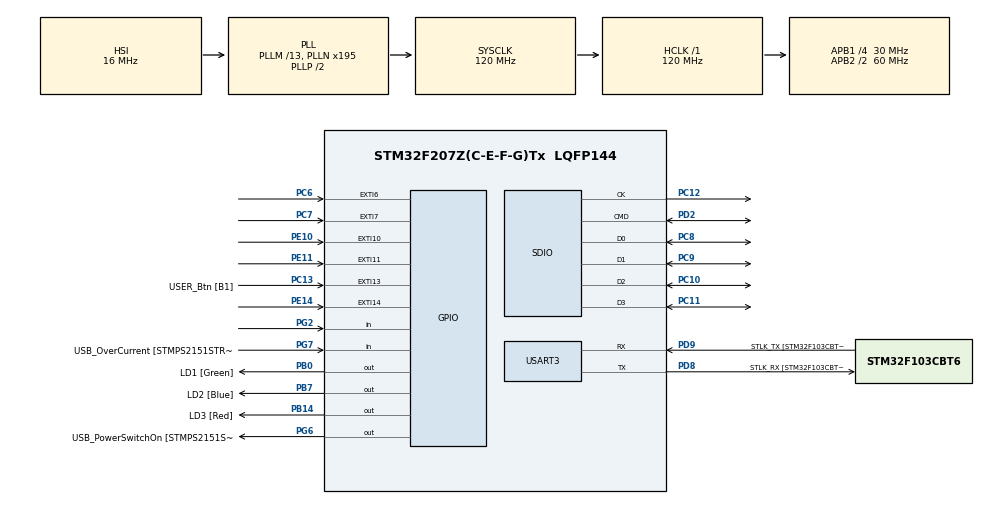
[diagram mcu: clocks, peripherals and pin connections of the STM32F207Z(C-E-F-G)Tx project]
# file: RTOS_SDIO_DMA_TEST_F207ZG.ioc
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Dma.Request0=SDIO_TX
Dma.Request1=SDIO_RX
Dma.SDIO_RX.1.Direction=DMA_PERIPH_TO_MEMORY
Dma.SDIO_RX.1.FIFOMode=DMA_FIFOMODE_ENABLE
Dma.SDIO_RX.1.FIFOThreshold=DMA_FIFO_THRESHOLD_FULL
Dma.SDIO_RX.1.Instance=DMA2_Stream3
Dma.SDIO_RX.1.MemBurst=DMA_MBURST_INC4
Dma.SDIO_RX.1.MemDataAlignment=DMA_MDATAALIGN_WORD
Dma.SDIO_RX.1.MemInc=DMA_MINC_ENABLE
Dma.SDIO_RX.1.Mode=DMA_PFCTRL
Dma.SDIO_RX.1.PeriphBurst=DMA_PBURST_INC4
Dma.SDIO_RX.1.PeriphDataAlignment=DMA_PDATAALIGN_WORD
Dma.SDIO_RX.1.PeriphInc=DMA_PINC_DISABLE
Dma.SDIO_RX.1.Priority=DMA_PRIORITY_LOW
Dma.SDIO_TX.0.Direction=DMA_MEMORY_TO_PERIPH
Dma.SDIO_TX.0.FIFOMode=DMA_FIFOMODE_ENABLE
Dma.SDIO_TX.0.FIFOThreshold=DMA_FIFO_THRESHOLD_FULL
Dma.SDIO_TX.0.Instance=DMA2_Stream6
Dma.SDIO_TX.0.MemBurst=DMA_MBURST_INC4
Dma.SDIO_TX.0.MemDataAlignment=DMA_MDATAALIGN_WORD
Dma.SDIO_TX.0.MemInc=DMA_MINC_ENABLE
Dma.SDIO_TX.0.Mode=DMA_PFCTRL
Dma.SDIO_TX.0.PeriphBurst=DMA_PBURST_INC4
Dma.SDIO_TX.0.PeriphDataAlignment=DMA_PDATAALIGN_WORD
Dma.SDIO_TX.0.PeriphInc=DMA_PINC_DISABLE
Dma.SDIO_TX.0.Priority=DMA_PRIORITY_LOW
FATFS.BSP.number=1
FATFS._CODE_PAGE=949
FATFS._USE_LFN=3
FATFS._WORD_ACCESS=1
FATFS0.BSP.STBoard=false
FATFS0.BSP.api=Unknown
FATFS0.BSP.i2caddr=0
FATFS0.BSP.instance=PG2
FATFS0.BSP.ip=GPIO
FATFS0.BSP.mode=Input
FATFS0.BSP.name=Detect_SDIO
FATFS0.BSP.solution=PG2
FREERTOS.Tasks01=SDcardTask,-1,2048,SDcardTaskFunc,Default,NULL,Dynamic,NULL,NULL;LEDTask,-3,256,LEDTaskFunc,Default,NULL,Dynamic,NULL,NULL
Mcu.Family=STM32F2
Mcu.Name=STM32F207Z(C-E-F-G)Tx
Mcu.Package=LQFP144
NVIC.DMA2_Stream3_IRQn=true\:6\:0\:true\:false\:true\:true\:false\:true
NVIC.DMA2_Stream6_IRQn=true\:6\:0\:true\:false\:true\:true\:false\:true
NVIC.EXTI15_10_IRQn=true\:5\:0\:false\:false\:true\:true\:true\:true
NVIC.EXTI9_5_IRQn=true\:5\:0\:false\:false\:true\:true\:true\:true
NVIC.PriorityGroup=NVIC_PRIORITYGROUP_4
NVIC.SDIO_IRQn=true\:5\:0\:true\:false\:true\:true\:true\:true
NVIC.TIM1_BRK_TIM9_IRQn=true\:0\:0\:false\:false\:true\:false\:false\:true
NVIC.TimeBase=TIM1_BRK_TIM9_IRQn
NVIC.TimeBaseIP=TIM9
PA1.GPIO_Label=RMII_REF_CLK [LAN8742A-CZ-TR_REFCLK0]
PA1.Signal=ETH_REF_CLK
PA10.GPIO_Label=USB_ID
PA10.Signal=USB_OTG_FS_ID
PA11.GPIO_Label=USB_DM
PA11.Signal=USB_OTG_FS_DM
PA12.GPIO_Label=USB_DP
PA12.Signal=USB_OTG_FS_DP
PA13.GPIO_Label=TMS
PA13.Mode=Trace_Asynchronous_SW
PA13.Signal=SYS_JTMS-SWDIO
PA14.GPIO_Label=TCK
PA14.Mode=Trace_Asynchronous_SW
PA14.Signal=SYS_JTCK-SWCLK
PA2.GPIO_Label=RMII_MDIO [LAN8742A-CZ-TR_MDIO]
PA2.Signal=ETH_MDIO
PA8.GPIO_Label=USB_SOF [TP1]
PA8.Signal=USB_OTG_FS_SOF
PA9.GPIO_Label=USB_VBUS
PA9.Signal=USB_OTG_FS_VBUS
PB0.GPIO_Label=LD1 [Green]
PB0.Signal=GPIO_Output
PB13.GPIO_Label=RMII_TXD1 [LAN8742A-CZ-TR_TXD1]
PB13.Signal=ETH_TXD1
PB14.GPIO_Label=LD3 [Red]
PB14.Signal=GPIO_Output
PB3.GPIO_Label=SWO
PB3.Mode=Trace_Asynchronous_SW
PB3.Signal=SYS_JTDO-SWO
PB7.GPIO_Label=LD2 [Blue]
PB7.Signal=GPIO_Output
PC1.GPIO_Label=RMII_MDC [LAN8742A-CZ-TR_MDC]
PC1.Signal=ETH_MDC
PC10.Mode=SD_4_bits_Wide_bus
PC10.Signal=SDIO_D2
PC11.Mode=SD_4_bits_Wide_bus
PC11.Signal=SDIO_D3
PC12.Mode=SD_4_bits_Wide_bus
PC12.Signal=SDIO_CK
PC13.GPIO_Label=USER_Btn [B1]
PC13.Signal=GPXTI13
PC14-OSC32_IN.Mode=LSE-External-Oscillator
PC14-OSC32_IN.Signal=RCC_OSC32_IN
PC15-OSC32_OUT.Mode=LSE-External-Oscillator
PC15-OSC32_OUT.Signal=RCC_OSC32_OUT
PC4.GPIO_Label=RMII_RXD0 [LAN8742A-CZ-TR_RXD0]
PC4.Signal=ETH_RXD0
PC5.GPIO_Label=RMII_RXD1 [LAN8742A-CZ-TR_RXD1]
PC5.Signal=ETH_RXD1
PC6.Signal=GPXTI6
PC7.Signal=GPXTI7
PC8.Mode=SD_4_bits_Wide_bus
PC8.Signal=SDIO_D0
PC9.Mode=SD_4_bits_Wide_bus
PC9.Signal=SDIO_D1
PD2.Mode=SD_4_bits_Wide_bus
PD2.Signal=SDIO_CMD
PD8.GPIO_Label=STLK_RX [STM32F103CBT6_PA3]
PD8.Mode=Asynchronous
PD8.Signal=USART3_TX
PD9.GPIO_Label=STLK_TX [STM32F103CBT6_PA2]
PD9.Mode=Asynchronous
PD9.Signal=USART3_RX
PE10.Signal=GPXTI10
PE11.Signal=GPXTI11
PE14.Signal=GPXTI14
PG11.GPIO_Label=RMII_TX_EN [LAN8742A-CZ-TR_TXEN]
PG11.Signal=ETH_TX_EN
PG13.GPIO_Label=RMII_TXD0 [LAN8742A-CZ-TR_TXD0]
PG13.Signal=ETH_TXD0
PG2.GPIO_PuPd=GPIO_PULLUP
PG2.Signal=GPIO_Input
PG6.GPIO_Label=USB_PowerSwitchOn [STMPS2151STR_EN]
PG6.Signal=GPIO_Output
PG7.GPIO_Label=USB_OverCurrent [STMPS2151STR_FAULT]
PG7.Signal=GPIO_Input
PH0-OSC_IN.GPIO_Label=MCO [STM32F103CBT6_PA8]
PH0-OSC_IN.Mode=HSE-External-Clock-Source
PH0-OSC_IN.Signal=RCC_OSC_IN
PH1-OSC_OUT.Mode=HSE-External-Clock-Source
PH1-OSC_OUT.Signal=RCC_OSC_OUT
ProjectManager.HeapSize=0x3000
ProjectManager.StackSize=0x3000
ProjectManager.TargetToolchain=STM32CubeIDE
RCC.48MHZClocksFreq_Value=48000000
RCC.AHBFreq_Value=120000000
RCC.APB1CLKDivider=RCC_HCLK_DIV4
RCC.APB1Freq_Value=30000000
RCC.APB1TimFreq_Value=60000000
RCC.APB2CLKDivider=RCC_HCLK_DIV2
RCC.APB2Freq_Value=60000000
RCC.APB2TimFreq_Value=120000000
RCC.CortexFreq_Value=120000000
RCC.HCLKFreq_Value=120000000
RCC.HSE_VALUE=8000000
RCC.HSI_VALUE=16000000
RCC.PLLM=13
RCC.PLLMUL=RCC_PLL_MUL9
RCC.PLLN=195
RCC.PLLQ=5
RCC.PRESCALERUSB=RCC_USBCLKSOURCE_PLL_DIV1_5
RCC.SYSCLKFreq_VALUE=120000000
RCC.SYSCLKSource=RCC_SYSCLKSOURCE_PLLCLK
RCC.SYSCLKSourceVirtual=RCC_SYSCLKSOURCE_PLLCLK
RCC.USBFreq_Value=48000000
RCC.VCOOutputFreq_Value=240000000
SDIO.ClockBypass=SDIO_CLOCK_BYPASS_DISABLE
SDIO.ClockDiv=10
SDIO.HardwareFlowControl=SDIO_HARDWARE_FLOW_CONTROL_DISABLE
USART3.VirtualMode=VM_ASYNC
VP_FATFS_VS_SDIO.Mode=SDIO
VP_FREERTOS_VS_CMSIS_V1.Mode=CMSIS_V1
VP_SYS_VS_tim9.Mode=TIM9
board=custom

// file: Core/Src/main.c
/* USER CODE BEGIN Header */
/**
 ******************************************************************************
 * @file           : main.c
 * @brief          : Main program body
 ******************************************************************************
 * @attention
 *
 * <h2><center>&copy; Copyright (c) 2020 STMicroelectronics.
 * All rights reserved.</center></h2>
 *
 * This software component is licensed by ST under BSD 3-Clause license,
 * the "License"; You may not use this file except in compliance with the
 * License. You may obtain a copy of the License at:
 *                        opensource.org/licenses/BSD-3-Clause
 *
 ******************************************************************************
 */
/* USER CODE END Header */
#include "main.h"
#include "cmsis_os.h"
#include "fatfs.h"

/* USER CODE BEGIN PTD */
typedef enum
{
	SHIELD_NOT_DETECTED = 0, SHIELD_DETECTED
} ShieldStatus;
/* USER CODE END PTD */

SD_HandleTypeDef hsd;
DMA_HandleTypeDef hdma_sdio_tx;
DMA_HandleTypeDef hdma_sdio_rx;

UART_HandleTypeDef huart3;

osThreadId SDcardTaskHandle;
osThreadId LEDTaskHandle;
/* USER CODE BEGIN PV */
FATFS SDFatFs; /* File system object for SD card logical drive */
FIL MyFile; /* File object */
char SDPath[4]; /* SD card logical drive path */
static uint8_t isFsCreated = 0;
uint8_t workBuffer[2 * _MAX_SS];
static uint8_t isInitialized = 0;
/* USER CODE END PV */

void SystemClock_Config(void);
static void MX_GPIO_Init(void);
static void MX_DMA_Init(void);
static void MX_USART3_UART_Init(void);
static void MX_SDIO_SD_Init(void);
void SDcardTaskFunc(void const *argument);
void LEDTaskFunc(void const *argument);

/* USER CODE BEGIN PFP */
static void SD_Initialize(void);
static void FS_FileOperations(void);
/* USER CODE END PFP */

/* USER CODE BEGIN 0 */
static ShieldStatus TFT_ShieldDetect(void)
{
	GPIO_InitTypeDef GPIO_InitStruct;

	/* Enable GPIO clock */
	__HAL_RCC_GPIOC_CLK_ENABLE();

	GPIO_InitStruct.Pin = GPIO_PIN_2;
	GPIO_InitStruct.Mode = GPIO_MODE_INPUT;
	GPIO_InitStruct.Pull = GPIO_PULLDOWN;
	HAL_GPIO_Init(GPIOG, &GPIO_InitStruct);

	if (HAL_GPIO_ReadPin(GPIOG, GPIO_PIN_2) != 0)
	{
		return SHIELD_DETECTED;
	}
	else
	{
		return SHIELD_NOT_DETECTED;
	}
}
void HAL_GPIO_EXTI_Callback(uint16_t GPIO_Pin)
{

}

void ITM_SendStr(char *str)
{
	while (*str)
	{
		ITM_SendChar(*str);
		str++;
	}
}

/* USER CODE END 0 */

int main(void)
{

	/* MCU Configuration--------------------------------------------------------*/

	/* Reset of all peripherals, Initializes the Flash interface and the Systick. */
	HAL_Init();

	/* Configure the system clock */
	SystemClock_Config();

	/* Initialize all configured peripherals */
	MX_GPIO_Init();
	MX_DMA_Init();
	MX_USART3_UART_Init();
	MX_SDIO_SD_Init();
	MX_FATFS_Init();

	/* Create the thread(s) */
	/* definition and creation of SDcardTask */
	osThreadDef(SDcardTask, SDcardTaskFunc, osPriorityBelowNormal, 0, 2048);
	SDcardTaskHandle = osThreadCreate(osThread(SDcardTask), NULL);

	/* definition and creation of LEDTask */
	osThreadDef(LEDTask, LEDTaskFunc, osPriorityIdle, 0, 256);
	LEDTaskHandle = osThreadCreate(osThread(LEDTask), NULL);

	/* Start scheduler */
	osKernelStart();

	/* We should never get here as control is now taken by the scheduler */
	/* Infinite loop */
	while (1)
	{

	}
}

void SystemClock_Config(void)
{
	RCC_OscInitTypeDef RCC_OscInitStruct =
	{ 0 };
	RCC_ClkInitTypeDef RCC_ClkInitStruct =
	{ 0 };

	/** Initializes the RCC Oscillators according to the specified parameters
	 * in the RCC_OscInitTypeDef structure.
	 */
	RCC_OscInitStruct.OscillatorType = RCC_OSCILLATORTYPE_HSI;
	RCC_OscInitStruct.HSIState = RCC_HSI_ON;
	RCC_OscInitStruct.HSICalibrationValue = RCC_HSICALIBRATION_DEFAULT;
	RCC_OscInitStruct.PLL.PLLState = RCC_PLL_ON;
	RCC_OscInitStruct.PLL.PLLSource = RCC_PLLSOURCE_HSI;
	RCC_OscInitStruct.PLL.PLLM = 13;
	RCC_OscInitStruct.PLL.PLLN = 195;
	RCC_OscInitStruct.PLL.PLLP = RCC_PLLP_DIV2;
	RCC_OscInitStruct.PLL.PLLQ = 5;
	if (HAL_RCC_OscConfig(&RCC_OscInitStruct) != HAL_OK)
	{
		Error_Handler();
	}
	/** Initializes the CPU, AHB and APB buses clocks
	 */
	RCC_ClkInitStruct.ClockType = RCC_CLOCKTYPE_HCLK | RCC_CLOCKTYPE_SYSCLK
			| RCC_CLOCKTYPE_PCLK1 | RCC_CLOCKTYPE_PCLK2;
	RCC_ClkInitStruct.SYSCLKSource = RCC_SYSCLKSOURCE_PLLCLK;
	RCC_ClkInitStruct.AHBCLKDivider = RCC_SYSCLK_DIV1;
	RCC_ClkInitStruct.APB1CLKDivider = RCC_HCLK_DIV4;
	RCC_ClkInitStruct.APB2CLKDivider = RCC_HCLK_DIV2;

	if (HAL_RCC_ClockConfig(&RCC_ClkInitStruct, FLASH_LATENCY_3) != HAL_OK)
	{
		Error_Handler();
	}
}

static void MX_SDIO_SD_Init(void)
{

	hsd.Instance = SDIO;
	hsd.Init.ClockEdge = SDIO_CLOCK_EDGE_RISING;
	hsd.Init.ClockBypass = SDIO_CLOCK_BYPASS_DISABLE;
	hsd.Init.ClockPowerSave = SDIO_CLOCK_POWER_SAVE_DISABLE;
	hsd.Init.BusWide = SDIO_BUS_WIDE_1B;
	hsd.Init.HardwareFlowControl = SDIO_HARDWARE_FLOW_CONTROL_DISABLE;
	hsd.Init.ClockDiv = 10;

}

static void MX_USART3_UART_Init(void)
{

	huart3.Instance = USART3;
	huart3.Init.BaudRate = 115200;
	huart3.Init.WordLength = UART_WORDLENGTH_8B;
	huart3.Init.StopBits = UART_STOPBITS_1;
	huart3.Init.Parity = UART_PARITY_NONE;
	huart3.Init.Mode = UART_MODE_TX_RX;
	huart3.Init.HwFlowCtl = UART_HWCONTROL_NONE;
	huart3.Init.OverSampling = UART_OVERSAMPLING_16;
	if (HAL_UART_Init(&huart3) != HAL_OK)
	{
		Error_Handler();
	}

}

static void MX_DMA_Init(void)
{

	/* DMA controller clock enable */
	__HAL_RCC_DMA2_CLK_ENABLE();

	/* DMA interrupt init */
	/* DMA2_Stream3_IRQn interrupt configuration */
	HAL_NVIC_SetPriority(DMA2_Stream3_IRQn, 6, 0);
	HAL_NVIC_EnableIRQ(DMA2_Stream3_IRQn);
	/* DMA2_Stream6_IRQn interrupt configuration */
	HAL_NVIC_SetPriority(DMA2_Stream6_IRQn, 6, 0);
	HAL_NVIC_EnableIRQ(DMA2_Stream6_IRQn);

}

static void MX_GPIO_Init(void)
{
	GPIO_InitTypeDef GPIO_InitStruct =
	{ 0 };

	/* GPIO Ports Clock Enable */
	__HAL_RCC_GPIOC_CLK_ENABLE();
	__HAL_RCC_GPIOH_CLK_ENABLE();
	__HAL_RCC_GPIOA_CLK_ENABLE();
	__HAL_RCC_GPIOB_CLK_ENABLE();
	__HAL_RCC_GPIOE_CLK_ENABLE();
	__HAL_RCC_GPIOD_CLK_ENABLE();
	__HAL_RCC_GPIOG_CLK_ENABLE();

	/*Configure GPIO pin Output Level */
	HAL_GPIO_WritePin(GPIOB, LD1_Pin | LD3_Pin | LD2_Pin, GPIO_PIN_RESET);

	/*Configure GPIO pin Output Level */
	HAL_GPIO_WritePin(USB_PowerSwitchOn_GPIO_Port, USB_PowerSwitchOn_Pin,
			GPIO_PIN_RESET);

	/*Configure GPIO pins : USER_Btn_Pin PC6 PC7 */
	GPIO_InitStruct.Pin = USER_Btn_Pin | GPIO_PIN_6 | GPIO_PIN_7;
	GPIO_InitStruct.Mode = GPIO_MODE_IT_RISING;
	GPIO_InitStruct.Pull = GPIO_NOPULL;
	HAL_GPIO_Init(GPIOC, &GPIO_InitStruct);

	/*Configure GPIO pins : RMII_MDC_Pin RMII_RXD0_Pin RMII_RXD1_Pin */
	GPIO_InitStruct.Pin = RMII_MDC_Pin | RMII_RXD0_Pin | RMII_RXD1_Pin;
	GPIO_InitStruct.Mode = GPIO_MODE_AF_PP;
	GPIO_InitStruct.Pull = GPIO_NOPULL;
	GPIO_InitStruct.Speed = GPIO_SPEED_FREQ_VERY_HIGH;
	GPIO_InitStruct.Alternate = GPIO_AF11_ETH;
	HAL_GPIO_Init(GPIOC, &GPIO_InitStruct);

	/*Configure GPIO pins : RMII_REF_CLK_Pin RMII_MDIO_Pin */
	GPIO_InitStruct.Pin = RMII_REF_CLK_Pin | RMII_MDIO_Pin;
	GPIO_InitStruct.Mode = GPIO_MODE_AF_PP;
	GPIO_InitStruct.Pull = GPIO_NOPULL;
	GPIO_InitStruct.Speed = GPIO_SPEED_FREQ_VERY_HIGH;
	GPIO_InitStruct.Alternate = GPIO_AF11_ETH;
	HAL_GPIO_Init(GPIOA, &GPIO_InitStruct);

	/*Configure GPIO pins : LD1_Pin LD3_Pin LD2_Pin */
	GPIO_InitStruct.Pin = LD1_Pin | LD3_Pin | LD2_Pin;
	GPIO_InitStruct.Mode = GPIO_MODE_OUTPUT_PP;
	GPIO_InitStruct.Pull = GPIO_NOPULL;
	GPIO_InitStruct.Speed = GPIO_SPEED_FREQ_LOW;
	HAL_GPIO_Init(GPIOB, &GPIO_InitStruct);

	/*Configure GPIO pins : PE10 PE11 PE14 */
	GPIO_InitStruct.Pin = GPIO_PIN_10 | GPIO_PIN_11 | GPIO_PIN_14;
	GPIO_InitStruct.Mode = GPIO_MODE_IT_RISING;
	GPIO_InitStruct.Pull = GPIO_NOPULL;
	HAL_GPIO_Init(GPIOE, &GPIO_InitStruct);

	/*Configure GPIO pin : RMII_TXD1_Pin */
	GPIO_InitStruct.Pin = RMII_TXD1_Pin;
	GPIO_InitStruct.Mode = GPIO_MODE_AF_PP;
	GPIO_InitStruct.Pull = GPIO_NOPULL;
	GPIO_InitStruct.Speed = GPIO_SPEED_FREQ_VERY_HIGH;
	GPIO_InitStruct.Alternate = GPIO_AF11_ETH;
	HAL_GPIO_Init(RMII_TXD1_GPIO_Port, &GPIO_InitStruct);

	/*Configure GPIO pin : PG2 */
	GPIO_InitStruct.Pin = GPIO_PIN_2;
	GPIO_InitStruct.Mode = GPIO_MODE_INPUT;
	GPIO_InitStruct.Pull = GPIO_PULLUP;
	HAL_GPIO_Init(GPIOG, &GPIO_InitStruct);

	/*Configure GPIO pin : USB_PowerSwitchOn_Pin */
	GPIO_InitStruct.Pin = USB_PowerSwitchOn_Pin;
	GPIO_InitStruct.Mode = GPIO_MODE_OUTPUT_PP;
	GPIO_InitStruct.Pull = GPIO_NOPULL;
	GPIO_InitStruct.Speed = GPIO_SPEED_FREQ_LOW;
	HAL_GPIO_Init(USB_PowerSwitchOn_GPIO_Port, &GPIO_InitStruct);

	/*Configure GPIO pin : USB_OverCurrent_Pin */
	GPIO_InitStruct.Pin = USB_OverCurrent_Pin;
	GPIO_InitStruct.Mode = GPIO_MODE_INPUT;
	GPIO_InitStruct.Pull = GPIO_NOPULL;
	HAL_GPIO_Init(USB_OverCurrent_GPIO_Port, &GPIO_InitStruct);

	/*Configure GPIO pins : USB_SOF_Pin USB_ID_Pin USB_DM_Pin USB_DP_Pin */
	GPIO_InitStruct.Pin = USB_SOF_Pin | USB_ID_Pin | USB_DM_Pin | USB_DP_Pin;
	GPIO_InitStruct.Mode = GPIO_MODE_AF_PP;
	GPIO_InitStruct.Pull = GPIO_NOPULL;
	GPIO_InitStruct.Speed = GPIO_SPEED_FREQ_VERY_HIGH;
	GPIO_InitStruct.Alternate = GPIO_AF10_OTG_FS;
	HAL_GPIO_Init(GPIOA, &GPIO_InitStruct);

	/*Configure GPIO pin : USB_VBUS_Pin */
	GPIO_InitStruct.Pin = USB_VBUS_Pin;
	GPIO_InitStruct.Mode = GPIO_MODE_INPUT;
	GPIO_InitStruct.Pull = GPIO_NOPULL;
	HAL_GPIO_Init(USB_VBUS_GPIO_Port, &GPIO_InitStruct);

	/*Configure GPIO pins : RMII_TX_EN_Pin RMII_TXD0_Pin */
	GPIO_InitStruct.Pin = RMII_TX_EN_Pin | RMII_TXD0_Pin;
	GPIO_InitStruct.Mode = GPIO_MODE_AF_PP;
	GPIO_InitStruct.Pull = GPIO_NOPULL;
	GPIO_InitStruct.Speed = GPIO_SPEED_FREQ_VERY_HIGH;
	GPIO_InitStruct.Alternate = GPIO_AF11_ETH;
	HAL_GPIO_Init(GPIOG, &GPIO_InitStruct);

	/* EXTI interrupt init*/
	HAL_NVIC_SetPriority(EXTI9_5_IRQn, 5, 0);
	HAL_NVIC_EnableIRQ(EXTI9_5_IRQn);

	HAL_NVIC_SetPriority(EXTI15_10_IRQn, 5, 0);
	HAL_NVIC_EnableIRQ(EXTI15_10_IRQn);

}

/* USER CODE BEGIN 4 */
static void SD_Initialize(void)
{
	if (isInitialized == 0)
	{
		BSP_SD_Init();
		BSP_SD_ITConfig();

		if (BSP_SD_IsDetected())
		{
			isInitialized = 1;
		}
	}
}

static void FS_FileOperations(void)
{
	FRESULT res; /* FatFs function common result code */
	uint32_t byteswritten, bytesread; /* File write/read counts */
	uint8_t wtext[] =
			"stm32l476rg: This is STM32 working with FatFs uSD + DMA + FreeRTOS. Thanks Dmitry."; /* File write buffer */
	uint8_t rtext[100]; /* File read buffer */

	/* Register the file system object to the FatFs module */
	if (f_mount(&SDFatFs, (TCHAR const*) SDPath, 0) == FR_OK)
	{

		/* check whether the FS has been already created */
		if (isFsCreated == 0)
		{
			if (f_mkfs(SDPath, FM_ANY, 0, workBuffer, sizeof(workBuffer))
					!= FR_OK)
			{
				HAL_GPIO_WritePin(LD3_GPIO_Port, LD3_Pin, GPIO_PIN_SET);
				return;
			}
			isFsCreated = 1;
		}

		if (f_mount(&SDFatFs, (TCHAR const*) SDPath, 0) == FR_OK)
		{
			/* Create and Open a new text file object with write access */
			if (f_open(&MyFile, "STM321.TXT", FA_CREATE_ALWAYS | FA_WRITE)
					== FR_OK)
			{
				/* Write data to the text file */
				res = f_write(&MyFile, wtext, sizeof(wtext),
						(void*) &byteswritten);

				if ((byteswritten > 0) && (res == FR_OK))
				{
					/* Close the open text file */
					f_close(&MyFile);

					/* Open the text file object with read access */
					if (f_open(&MyFile, "STM321.TXT", FA_READ) == FR_OK)
					{
						/* Read data from the text file */
						res = f_read(&MyFile, rtext, sizeof(rtext),
								(void*) &bytesread);

						if ((bytesread > 0) && (res == FR_OK))
						{
							/* Close the open text file */
							f_close(&MyFile);

							/* Compare read data with the expected data */
							if ((bytesread == byteswritten))
							{
								/* Success of the demo: no error occurrence */
								HAL_GPIO_WritePin(LD2_GPIO_Port, LD2_Pin,
										GPIO_PIN_SET);
								return;
							}
						}
					}
				}
			}
		}
	}
	/* Error */
	HAL_GPIO_WritePin(LD3_GPIO_Port, LD3_Pin, GPIO_PIN_RESET);
}
/* USER CODE END 4 */

void SDcardTaskFunc(void const *argument)
{
	/* USER CODE BEGIN 5 */
	SD_Initialize();
	MX_FATFS_Init();
	FS_FileOperations();
	/* Infinite loop */
	for (;;)
	{
		HAL_GPIO_TogglePin(LD1_GPIO_Port, LD1_Pin);
		osDelay(100);
	}
	/* USER CODE END 5 */
}

void LEDTaskFunc(void const *argument)
{
	for (;;)
	{
		osDelay(1);
	}
}

void HAL_TIM_PeriodElapsedCallback(TIM_HandleTypeDef *htim)
{
	if (htim->Instance == TIM9)
	{
		HAL_IncTick();
	}
}

void Error_Handler(void)
{
}

/************************ (C) COPYRIGHT STMicroelectronics *****END OF FILE****/
